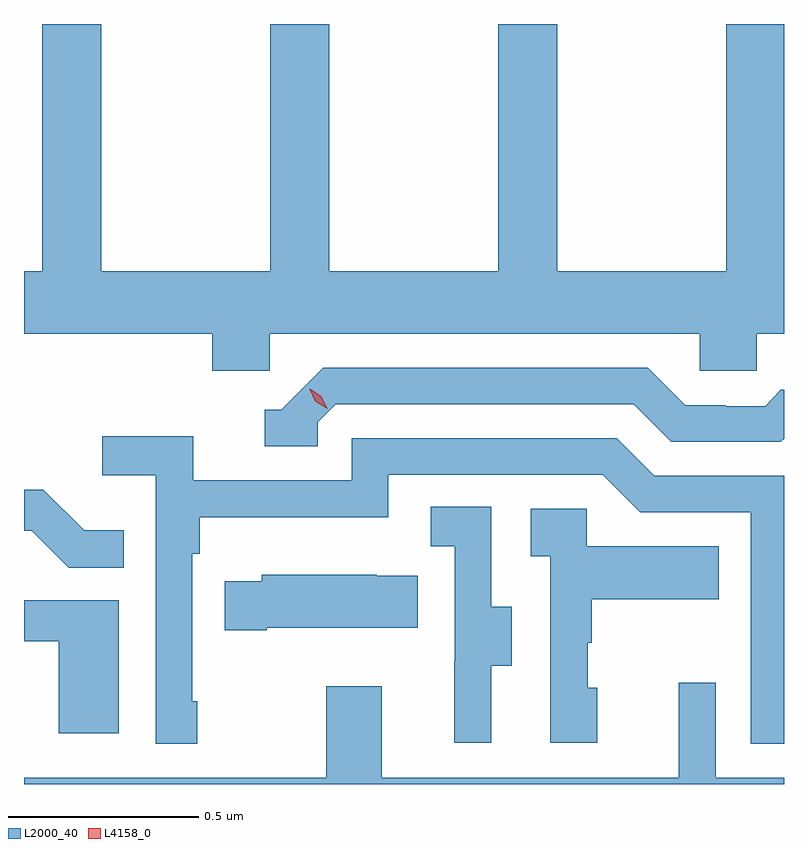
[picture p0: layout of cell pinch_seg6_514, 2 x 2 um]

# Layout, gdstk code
import gdstk
lib = gdstk.Library(unit=1e-6, precision=1e-09)
def P(c, l, *ps):  # polygons
    for p in ps: c.add(gdstk.Polygon(p, *l))
L2000_40 = (2000, 40)
L4158_0 = (4158, 0)

pinch_seg6_514 = lib.new_cell('pinch_seg6_514')
P(pinch_seg6_514, L2000_40, [(856.764,927.356),(857.895,927.356),(857.895,927.258),(858.045,927.258),(858.045,927.356),(858.117,927.356),(858.117,928.171),(857.965,928.171),(857.965,927.52),(857.52,927.52),(857.52,928.171),(857.365,928.171),(857.365,927.52),(856.92,927.52),(856.92,928.171),(856.765,928.171),(856.765,927.52),(856.32,927.52),(856.32,928.171),(856.165,928.171),(856.165,927.52),(856.117,927.52),(856.117,927.356),(856.613,927.356),(856.613,927.258),(856.764,927.258)],
  [(856.89,927.123),(856.938,927.171),(857.721,927.171),(857.82,927.072),(858.109,927.072),(858.117,927.08),(858.117,927.208),(858.109,927.208),(858.067,927.165),(857.964,927.165),(857.964,927.168),(857.857,927.168),(857.758,927.267),(856.905,927.267),(856.794,927.156),(856.751,927.156),(856.751,927.06),(856.89,927.06)],
  [(856.573,926.389),(856.56,926.389),(856.56,926.777),(856.58,926.777),(856.58,926.873),(857.076,926.873),(857.076,926.985),(857.64,926.985),(857.739,926.886),(858.03,926.886),(858.03,926.277),(858.117,926.277),(858.117,926.982),(857.776,926.982),(857.677,927.081),(856.98,927.081),(856.98,926.97),(856.562,926.97),(856.562,927.086),(856.323,927.086),(856.323,926.984),(856.464,926.984),(856.464,926.277),(856.573,926.277)],
  [(856.379,926.839),(856.275,926.839),(856.168,926.946),(856.117,926.946),(856.117,926.838),(856.137,926.838),(856.235,926.74),(856.379,926.74)],
  [(857.347,926.482),(857.401,926.482),(857.401,926.637),(857.346,926.637),(857.346,926.9),(857.187,926.9),(857.187,926.797),(857.25,926.797),(857.25,926.493),(857.249,926.493),(857.249,926.28),(857.347,926.28)],
  [(857.626,926.424),(857.601,926.424),(857.601,926.543),(857.611,926.543),(857.611,926.657),(857.945,926.657),(857.945,926.797),(857.598,926.797),(857.598,926.895),(857.451,926.895),(857.451,926.771),(857.502,926.771),(857.502,926.28),(857.626,926.28)],
  [(856.756,926.582),(857.153,926.582),(857.153,926.719),(857.045,926.719),(857.045,926.722),(856.743,926.722),(856.743,926.704),(856.645,926.704),(856.645,926.575),(856.756,926.575)],
  [(856.366,926.655),(856.117,926.655),(856.117,926.547),(856.208,926.547),(856.208,926.304),(856.366,926.304)],
  [(858.117,926.188),(857.937,926.188),(857.937,926.437),(857.84,926.437),(857.84,926.188),(857.059,926.188),(857.059,926.428),(856.912,926.428),(856.912,926.188),(856.117,926.188),(856.117,926.171),(858.117,926.171)])
P(pinch_seg6_514, L4158_0, [(856.915,927.158),(856.884,927.178),(856.869,927.21),(856.869,927.211),(856.869,927.211),(856.899,927.191),(856.915,927.159),(856.915,927.158)])

lib.write_gds('pinch_seg6_514.gds')
